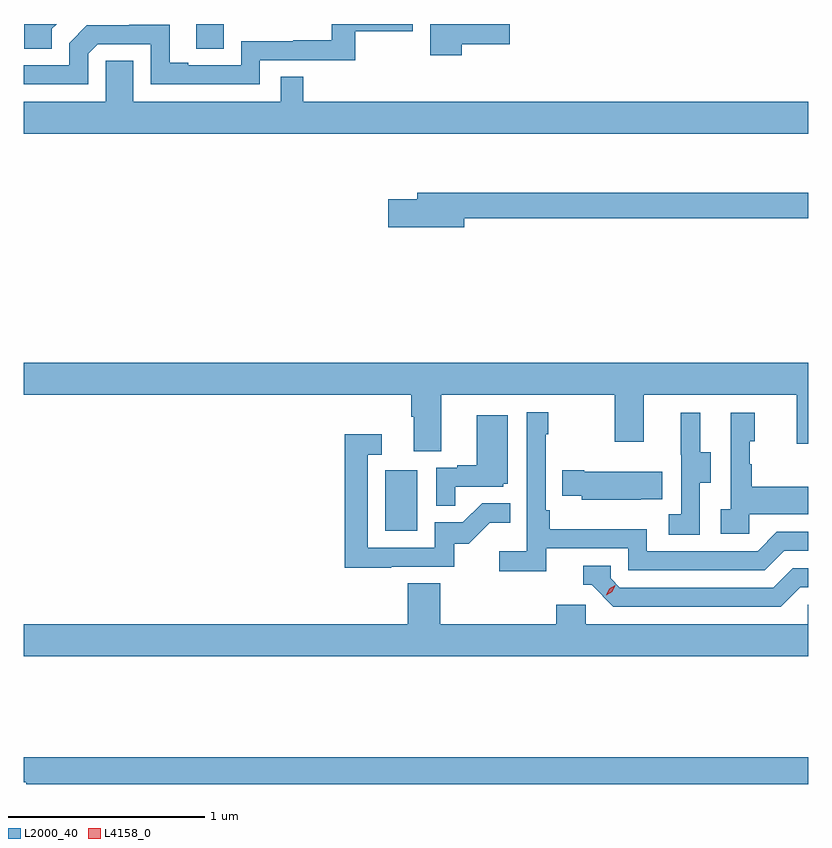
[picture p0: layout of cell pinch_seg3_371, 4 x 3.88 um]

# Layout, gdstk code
import gdstk
lib = gdstk.Library(unit=1e-6, precision=1e-09)
def R(c, l, rs):  # rectangles x0, y0, x1, y1
    for r in rs: c.add(gdstk.rectangle(r[:2], r[2:], *l))
def P(c, l, *ps):  # polygons
    for p in ps: c.add(gdstk.Polygon(p, *l))
L2000_40 = (2000, 40)
L4158_0 = (4158, 0)

pinch_seg3_371 = lib.new_cell('pinch_seg3_371')
R(pinch_seg3_371, L2000_40, [(970.514,690.9,970.678,691.207), (969.551,693.358,969.691,693.484)])
P(pinch_seg3_371, L2000_40, [(968.815,693.46),(968.839,693.484),(968.675,693.484),(968.675,693.358),(968.815,693.358)],
  [(970.906,693.382),(971.149,693.382),(971.149,693.484),(970.745,693.484),(970.745,693.324),(970.906,693.324)],
  [(969,693.333),(969.048,693.381),(969.318,693.381),(969.318,693.177),(969.876,693.177),(969.876,693.3),(970.363,693.3),(970.363,693.447),(970.656,693.447),(970.656,693.484),(970.242,693.484),(970.242,693.401),(970.045,693.401),(970.045,693.396),(969.78,693.396),(969.78,693.273),(969.511,693.273),(969.511,693.286),(969.415,693.286),(969.415,693.479),(969.21,693.479),(969.21,693.477),(968.994,693.477),(968.904,693.387),(968.904,693.273),(968.672,693.273),(968.672,693.177),(969,693.177)],
  [(972.672,693.088),(970.097,693.088),(970.097,693.215),(969.981,693.215),(969.981,693.088),(969.229,693.088),(969.229,693.296),(969.09,693.296),(969.09,693.088),(968.672,693.088),(968.672,692.924),(972.672,692.924)],
  [(970.918,692.494),(972.672,692.494),(972.672,692.623),(970.679,692.623),(970.679,692.589),(970.53,692.589),(970.53,692.447),(970.918,692.447)],
  [(970.801,691.592),(971.686,691.592),(971.686,691.353),(971.833,691.353),(971.833,691.592),(972.614,691.592),(972.614,691.344),(972.672,691.344),(972.672,691.756),(968.672,691.756),(968.672,691.592),(970.649,691.592),(970.649,691.48),(970.661,691.48),(970.661,691.306),(970.801,691.306)],
  [(971.336,690.81),(971.754,690.81),(971.754,690.699),(972.451,690.699),(972.55,690.798),(972.672,690.798),(972.672,690.894),(972.513,690.894),(972.414,690.795),(971.85,690.795),(971.85,690.907),(971.354,690.907),(971.354,691.003),(971.334,691.003),(971.334,691.391),(971.347,691.391),(971.347,691.504),(971.238,691.504),(971.238,690.796),(971.097,690.796),(971.097,690.694),(971.336,690.694)],
  [(972.12,691.144),(972.175,691.144),(972.175,691.299),(972.121,691.299),(972.121,691.501),(972.023,691.501),(972.023,691.287),(972.024,691.287),(972.024,690.983),(971.961,690.983),(971.961,690.88),(972.12,690.88)],
  [(972.372,690.983),(972.672,690.983),(972.672,691.123),(972.385,691.123),(972.385,691.238),(972.375,691.238),(972.375,691.356),(972.4,691.356),(972.4,691.501),(972.276,691.501),(972.276,691.01),(972.225,691.01),(972.225,690.885),(972.372,690.885)],
  [(970.871,691.125),(971.118,691.125),(971.118,691.14),(971.14,691.14),(971.14,691.489),(970.982,691.489),(970.982,691.234),(970.883,691.234),(970.883,691.221),(970.776,691.221),(970.776,691.027),(970.871,691.027)],
  [(970.547,690.717),(970.866,690.717),(970.866,690.834),(970.942,690.834),(971.049,690.941),(971.153,690.941),(971.153,691.04),(971.009,691.04),(970.911,690.942),(970.767,690.942),(970.767,690.813),(970.425,690.813),(970.425,691.287),(970.498,691.287),(970.498,691.393),(970.309,691.393),(970.309,690.712),(970.547,690.712)],
  [(971.819,691.061),(971.927,691.061),(971.927,691.201),(971.53,691.201),(971.53,691.209),(971.419,691.209),(971.419,691.079),(971.517,691.079),(971.517,691.058),(971.819,691.058)],
  [(972.631,690.612),(972.672,690.612),(972.672,690.708),(972.594,690.708),(972.495,690.609),(971.712,690.609),(971.664,690.657),(971.664,690.72),(971.525,690.72),(971.525,690.624),(971.568,690.624),(971.679,690.513),(972.532,690.513)],
  [(972.672,690.522),(972.669,690.522),(972.669,690.424),(971.538,690.424),(971.538,690.522),(971.387,690.522),(971.387,690.424),(970.796,690.424),(970.796,690.632),(970.631,690.632),(970.631,690.424),(968.672,690.424),(968.672,690.26),(972.672,690.26)],
  [(972.672,689.744),(968.672,689.744),(968.672,689.616),(968.684,689.616),(968.684,689.608),(972.672,689.608)])
P(pinch_seg3_371, L4158_0, [(971.642,690.571),(971.642,690.571),(971.658,690.603),(971.689,690.622),(971.689,690.622),(971.689,690.622),(971.673,690.589),(971.642,690.571)])

lib.write_gds('pinch_seg3_371.gds')
